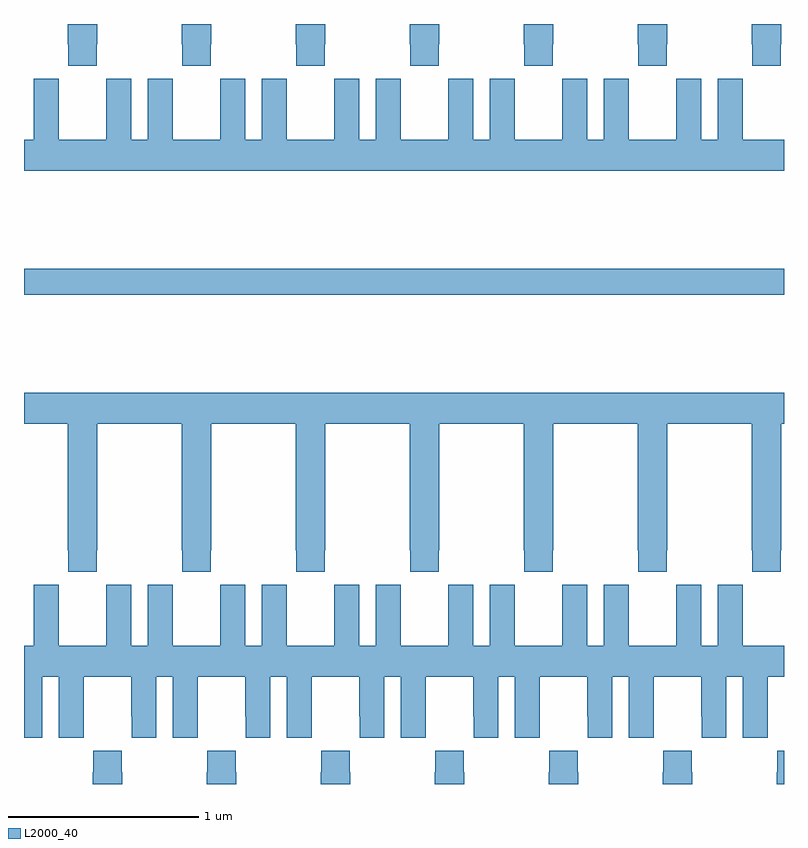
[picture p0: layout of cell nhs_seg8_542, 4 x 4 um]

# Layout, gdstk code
import gdstk
lib = gdstk.Library(unit=1e-6, precision=1e-09)
def R(c, l, rs):  # rectangles x0, y0, x1, y1
    for r in rs: c.add(gdstk.rectangle(r[:2], r[2:], *l))
def P(c, l, *ps):  # polygons
    for p in ps: c.add(gdstk.Polygon(p, *l))
L2000_40 = (2000, 40)

nhs_seg8_542 = lib.new_cell('nhs_seg8_542')
R(nhs_seg8_542, L2000_40, [(145,1154.476,149,1154.612)])
P(nhs_seg8_542, L2000_40, [(147.783,1155.793),(147.786,1155.793),(147.786,1155.9),(147.631,1155.9),(147.631,1155.793),(147.633,1155.793),(147.633,1155.681),(147.783,1155.681)],
  [(147.183,1155.793),(147.186,1155.793),(147.186,1155.9),(147.031,1155.9),(147.031,1155.793),(147.033,1155.793),(147.033,1155.681),(147.183,1155.681)],
  [(146.583,1155.793),(146.586,1155.793),(146.586,1155.9),(146.431,1155.9),(146.431,1155.793),(146.433,1155.793),(146.433,1155.681),(146.583,1155.681)],
  [(145.983,1155.793),(145.986,1155.793),(145.986,1155.9),(145.831,1155.9),(145.831,1155.793),(145.833,1155.793),(145.833,1155.681),(145.983,1155.681)],
  [(145.383,1155.793),(145.386,1155.793),(145.386,1155.9),(145.231,1155.9),(145.231,1155.793),(145.233,1155.793),(145.233,1155.681),(145.383,1155.681)],
  [(148.983,1155.793),(148.986,1155.793),(148.986,1155.9),(148.831,1155.9),(148.831,1155.793),(148.833,1155.793),(148.833,1155.681),(148.983,1155.681)],
  [(148.383,1155.793),(148.386,1155.793),(148.386,1155.9),(148.231,1155.9),(148.231,1155.793),(148.233,1155.793),(148.233,1155.681),(148.383,1155.681)],
  [(149,1155.292),(148.783,1155.292),(148.783,1155.5),(148.782,1155.5),(148.782,1155.613),(148.652,1155.613),(148.652,1155.292),(148.564,1155.292),(148.564,1155.613),(148.434,1155.613),(148.434,1155.5),(148.433,1155.5),(148.433,1155.292),(148.183,1155.292),(148.183,1155.5),(148.182,1155.5),(148.182,1155.613),(148.052,1155.613),(148.052,1155.292),(147.964,1155.292),(147.964,1155.613),(147.834,1155.613),(147.834,1155.5),(147.833,1155.5),(147.833,1155.292),(147.583,1155.292),(147.583,1155.5),(147.582,1155.5),(147.582,1155.613),(147.452,1155.613),(147.452,1155.292),(147.364,1155.292),(147.364,1155.613),(147.234,1155.613),(147.234,1155.5),(147.233,1155.5),(147.233,1155.292),(146.983,1155.292),(146.983,1155.5),(146.982,1155.5),(146.982,1155.613),(146.852,1155.613),(146.852,1155.292),(146.764,1155.292),(146.764,1155.613),(146.634,1155.613),(146.634,1155.5),(146.633,1155.5),(146.633,1155.292),(146.383,1155.292),(146.383,1155.5),(146.382,1155.5),(146.382,1155.613),(146.252,1155.613),(146.252,1155.292),(146.164,1155.292),(146.164,1155.613),(146.034,1155.613),(146.034,1155.5),(146.033,1155.5),(146.033,1155.292),(145.783,1155.292),(145.783,1155.5),(145.782,1155.5),(145.782,1155.613),(145.652,1155.613),(145.652,1155.292),(145.564,1155.292),(145.564,1155.613),(145.434,1155.613),(145.434,1155.5),(145.433,1155.5),(145.433,1155.292),(145.183,1155.292),(145.183,1155.5),(145.182,1155.5),(145.182,1155.613),(145.052,1155.613),(145.052,1155.292),(145,1155.292),(145,1155.128),(149,1155.128)],
  [(145.383,1153.129),(145.386,1153.129),(145.386,1153.796),(145.831,1153.796),(145.831,1153.129),(145.833,1153.129),(145.833,1153.017),(145.983,1153.017),(145.983,1153.129),(145.986,1153.129),(145.986,1153.796),(146.431,1153.796),(146.431,1153.129),(146.433,1153.129),(146.433,1153.017),(146.583,1153.017),(146.583,1153.129),(146.586,1153.129),(146.586,1153.796),(147.031,1153.796),(147.031,1153.129),(147.033,1153.129),(147.033,1153.017),(147.183,1153.017),(147.183,1153.129),(147.186,1153.129),(147.186,1153.796),(147.631,1153.796),(147.631,1153.129),(147.633,1153.129),(147.633,1153.017),(147.783,1153.017),(147.783,1153.129),(147.786,1153.129),(147.786,1153.796),(148.231,1153.796),(148.231,1153.129),(148.233,1153.129),(148.233,1153.017),(148.383,1153.017),(148.383,1153.129),(148.386,1153.129),(148.386,1153.796),(148.831,1153.796),(148.831,1153.129),(148.833,1153.129),(148.833,1153.017),(148.983,1153.017),(148.983,1153.129),(148.986,1153.129),(148.986,1153.796),(149,1153.796),(149,1153.96),(145,1153.96),(145,1153.796),(145.231,1153.796),(145.231,1153.129),(145.233,1153.129),(145.233,1153.017),(145.383,1153.017)],
  [(146.165,1152.256),(146.166,1152.256),(146.166,1152.144),(146.296,1152.144),(146.296,1152.464),(146.384,1152.464),(146.384,1152.144),(146.514,1152.144),(146.514,1152.256),(146.515,1152.256),(146.515,1152.464),(146.765,1152.464),(146.765,1152.256),(146.766,1152.256),(146.766,1152.144),(146.896,1152.144),(146.896,1152.464),(146.984,1152.464),(146.984,1152.144),(147.114,1152.144),(147.114,1152.256),(147.115,1152.256),(147.115,1152.464),(147.365,1152.464),(147.365,1152.256),(147.366,1152.256),(147.366,1152.144),(147.496,1152.144),(147.496,1152.464),(147.584,1152.464),(147.584,1152.144),(147.714,1152.144),(147.714,1152.256),(147.715,1152.256),(147.715,1152.464),(147.965,1152.464),(147.965,1152.256),(147.966,1152.256),(147.966,1152.144),(148.096,1152.144),(148.096,1152.464),(148.184,1152.464),(148.184,1152.144),(148.314,1152.144),(148.314,1152.256),(148.315,1152.256),(148.315,1152.464),(148.565,1152.464),(148.565,1152.256),(148.566,1152.256),(148.566,1152.144),(148.696,1152.144),(148.696,1152.464),(148.784,1152.464),(148.784,1152.144),(148.914,1152.144),(148.914,1152.256),(148.915,1152.256),(148.915,1152.464),(149,1152.464),(149,1152.628),(148.783,1152.628),(148.783,1152.836),(148.782,1152.836),(148.782,1152.949),(148.652,1152.949),(148.652,1152.628),(148.564,1152.628),(148.564,1152.949),(148.434,1152.949),(148.434,1152.836),(148.433,1152.836),(148.433,1152.628),(148.183,1152.628),(148.183,1152.836),(148.182,1152.836),(148.182,1152.949),(148.052,1152.949),(148.052,1152.628),(147.964,1152.628),(147.964,1152.949),(147.834,1152.949),(147.834,1152.836),(147.833,1152.836),(147.833,1152.628),(147.583,1152.628),(147.583,1152.836),(147.582,1152.836),(147.582,1152.949),(147.452,1152.949),(147.452,1152.628),(147.364,1152.628),(147.364,1152.949),(147.234,1152.949),(147.234,1152.836),(147.233,1152.836),(147.233,1152.628),(146.983,1152.628),(146.983,1152.836),(146.982,1152.836),(146.982,1152.949),(146.852,1152.949),(146.852,1152.628),(146.764,1152.628),(146.764,1152.949),(146.634,1152.949),(146.634,1152.836),(146.633,1152.836),(146.633,1152.628),(146.383,1152.628),(146.383,1152.836),(146.382,1152.836),(146.382,1152.949),(146.252,1152.949),(146.252,1152.628),(146.164,1152.628),(146.164,1152.949),(146.034,1152.949),(146.034,1152.836),(146.033,1152.836),(146.033,1152.628),(145.783,1152.628),(145.783,1152.836),(145.782,1152.836),(145.782,1152.949),(145.652,1152.949),(145.652,1152.628),(145.564,1152.628),(145.564,1152.949),(145.434,1152.949),(145.434,1152.836),(145.433,1152.836),(145.433,1152.628),(145.183,1152.628),(145.183,1152.836),(145.182,1152.836),(145.182,1152.949),(145.052,1152.949),(145.052,1152.628),(145,1152.628),(145,1152.144),(145.096,1152.144),(145.096,1152.464),(145.184,1152.464),(145.184,1152.144),(145.314,1152.144),(145.314,1152.256),(145.315,1152.256),(145.315,1152.464),(145.565,1152.464),(145.565,1152.256),(145.566,1152.256),(145.566,1152.144),(145.696,1152.144),(145.696,1152.464),(145.784,1152.464),(145.784,1152.144),(145.914,1152.144),(145.914,1152.256),(145.915,1152.256),(145.915,1152.464),(146.165,1152.464)],
  [(145.518,1151.963),(145.515,1151.963),(145.515,1152.076),(145.365,1152.076),(145.365,1151.963),(145.363,1151.963),(145.363,1151.9),(145.518,1151.9)],
  [(146.118,1151.963),(146.115,1151.963),(146.115,1152.076),(145.965,1152.076),(145.965,1151.963),(145.963,1151.963),(145.963,1151.9),(146.118,1151.9)],
  [(146.718,1151.963),(146.715,1151.963),(146.715,1152.076),(146.565,1152.076),(146.565,1151.963),(146.563,1151.963),(146.563,1151.9),(146.718,1151.9)],
  [(147.318,1151.963),(147.315,1151.963),(147.315,1152.076),(147.165,1152.076),(147.165,1151.963),(147.163,1151.963),(147.163,1151.9),(147.318,1151.9)],
  [(147.918,1151.963),(147.915,1151.963),(147.915,1152.076),(147.765,1152.076),(147.765,1151.963),(147.763,1151.963),(147.763,1151.9),(147.918,1151.9)],
  [(148.518,1151.963),(148.515,1151.963),(148.515,1152.076),(148.365,1152.076),(148.365,1151.963),(148.363,1151.963),(148.363,1151.9),(148.518,1151.9)],
  [(149,1152.076),(148.965,1152.076),(148.965,1151.963),(148.963,1151.963),(148.963,1151.9),(149,1151.9)])

lib.write_gds('nhs_seg8_542.gds')
